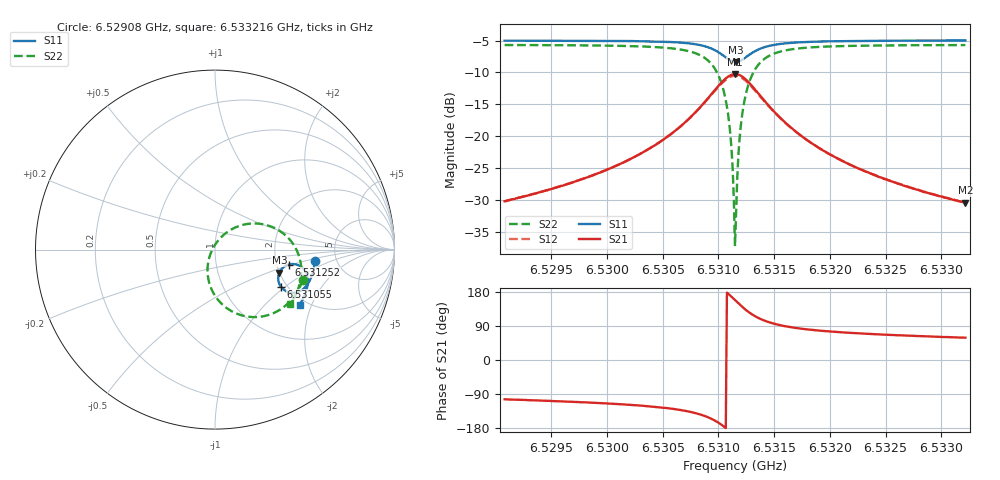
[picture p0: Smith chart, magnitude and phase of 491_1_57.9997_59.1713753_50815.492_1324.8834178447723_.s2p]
#  HZ  S  RI  R  50.00
! Rohde & Schwarz Vector Network Analyzer
! Rohde-Schwarz,ZNB20-2Port,1311601062101988,3.16
! Created: UTC 3/21/2024, 1:12:16 AM
! freq[Hz]  re:S11  im:S11  re:S21  im:S21  re:S12  im:S12  re:S22  im:S22
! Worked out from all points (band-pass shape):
!   401 points, 6.52908 GHz to 6.533216 GHz, reference 50 ohm
!   highest |S21| = -10.26 dB at 6.531148 GHz (marker M1); lowest = -30.4 dB at 6.533216 GHz (marker M2)
!   |S21| within 3 dB of the highest: 6.530943 GHz to 6.531357 GHz (414.1 kHz wide, 0.00634 % of centre)
!   lowest |S11| = -8.4 dB at 6.531159 GHz (marker M3), VSWR 2.23, Z = 99.8 - j30.1 ohm
!   |S11| at or under -10 dB: nowhere
!   |S22| runs from -37.2 to -5.7 dB; largest |S21 - S12| = 0.012
!   S11 on the Smith chart (normalised r, x): 6.52908 GHz: 3.42, -0.65; 6.531055 GHz: 1.86, -0.93; 6.531252 GHz: 2.33, -0.47; 6.533216 GHz: 1.82, -1.64
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6.5290803e9  0.5571 -0.0655  -0.00733 -0.0302  -0.00792 -0.0301  0.4901 -0.1692
6.5297731e9  0.5462 -0.123  -0.017 -0.043  -0.0179 -0.0426  0.4591 -0.2336
6.5304658e9  0.5174 -0.1914  -0.0507 -0.0736  -0.0527 -0.0722  0.3777 -0.3242
6.5307036e9  0.4901 -0.221  -0.0904 -0.0927  -0.0932 -0.0897  0.2972 -0.3646
6.5308794e9  0.4462 -0.2398  -0.1585 -0.099  -0.1607 -0.0924  0.1712 -0.3715
6.5309828e9  0.4016 -0.234  -0.2278 -0.0722  -0.2268 -0.063  0.0533 -0.3164
6.5310552e9  0.3671 -0.2064  -0.2786 -0.0137  -0.273 -0.00406  -0.024 -0.2097
6.5310966e9  0.3543 -0.1786  -0.2946 0.039  -0.2857 0.047  -0.0419 -0.1192
6.5311172e9  0.3522 -0.1621  -0.2951 0.0692  -0.2851 0.0753  -0.0379 -0.0696
6.5311276e9  0.3524 -0.1537  -0.2932 0.0845  -0.2827 0.0898  -0.0321 -0.0449
6.5311379e9  0.3536 -0.1452  -0.2898 0.0995  -0.2791 0.104  -0.024 -0.0205
6.5311482e9  0.3557 -0.1368  -0.2847 0.1143  -0.274 0.1178  -0.0135 0.00314
6.5311586e9  0.3584 -0.1287  -0.2783 0.1287  -0.2675 0.1312  -0.00063 0.0256
6.5311689e9  0.3624 -0.121  -0.2706 0.1423  -0.2598 0.1437  0.0143 0.0464
6.5311896e9  0.3722 -0.1073  -0.2516 0.1662  -0.2413 0.1661  0.0493 0.083
6.5311999e9  0.3779 -0.1013  -0.2404 0.1766  -0.231 0.1757  0.0689 0.0981
6.5312516e9  0.4113 -0.0831  -0.1798 0.2088  -0.1732 0.2055  0.1741 0.1419
6.531324e9  0.4544 -0.0835  -0.1041 0.2106  -0.1009 0.2074  0.3016 0.1323
6.5314274e9  0.4918 -0.1062  -0.0392 0.179  -0.0377 0.1775  0.4077 0.0652
6.531841e9  0.5171 -0.1863  0.0161 0.0863  0.0172 0.086  0.4809 -0.1279
6.5325338e9  0.4977 -0.2573  0.0181 0.0412  0.0188 0.041  0.4529 -0.2449
6.5332162e9  0.4708 -0.3084  0.0156 0.0259  0.0162 0.0257  0.418 -0.3057
